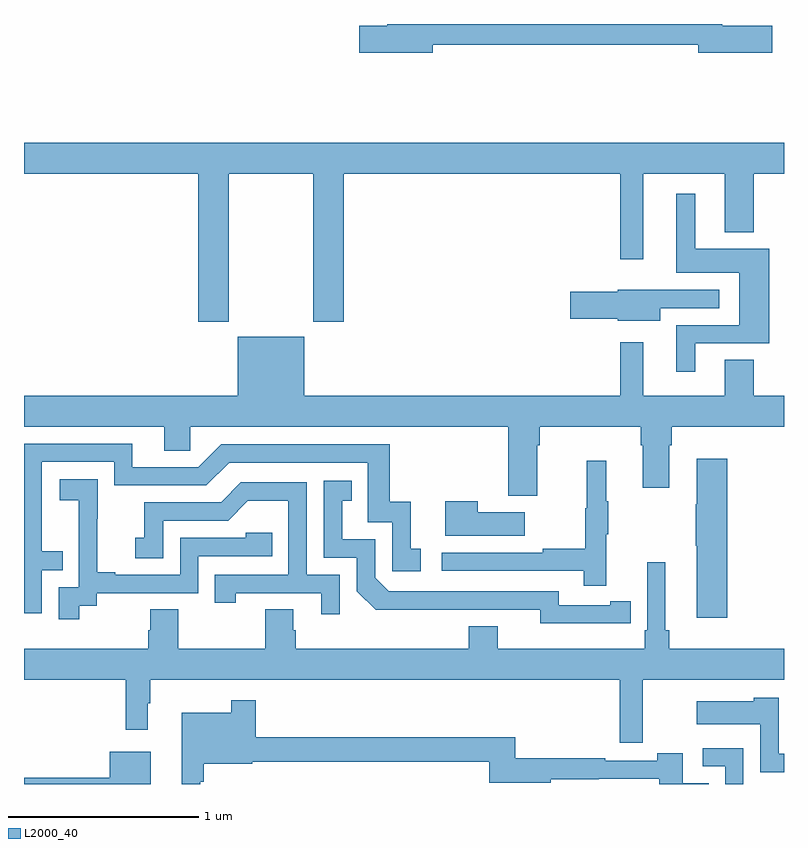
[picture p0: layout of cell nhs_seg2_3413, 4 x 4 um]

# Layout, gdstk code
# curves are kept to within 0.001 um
import gdstk
lib = gdstk.Library(unit=1e-6, precision=1e-09)
def P(c, l, *ps):  # polygons
    for p in ps: c.add(gdstk.Polygon(p, *l))
L2000_40 = (2000, 40)

nhs_seg2_3413 = lib.new_cell('nhs_seg2_3413')
P(nhs_seg2_3413, L2000_40, [(293.152,605.692),(294.548,605.692),(294.548,605.65),(294.937,605.65),(294.937,605.792),(294.676,605.792),(294.676,605.8),(292.913,605.8),(292.913,605.792),(292.764,605.792),(292.764,605.65),(293.152,605.65)],
  [(292.077,605.012),(292.522,605.012),(292.522,604.233),(292.682,604.233),(292.682,605.012),(294.138,605.012),(294.138,604.563),(294.259,604.563),(294.259,605.012),(294.689,605.012),(294.689,604.703),(294.842,604.703),(294.842,605.012),(295,605.012),(295,605.176),(291,605.176),(291,605.012),(291.917,605.012),(291.917,604.233),(292.077,604.233)],
  [(294.532,604.119),(294.923,604.119),(294.923,604.618),(294.532,604.618),(294.532,604.906),(294.434,604.906),(294.434,604.49),(294.764,604.49),(294.764,604.215),(294.434,604.215),(294.434,603.969),(294.532,603.969)],
  [(294.349,604.305),(294.658,604.305),(294.658,604.401),(294.345,604.401),(294.345,604.402),(294.126,604.402),(294.126,604.391),(293.874,604.391),(293.874,604.249),(294.126,604.249),(294.126,604.238),(294.349,604.238)],
  [(293.701,603.584),(293.714,603.584),(293.714,603.68),(294.245,603.68),(294.245,603.584),(294.257,603.584),(294.257,603.36),(294.397,603.36),(294.397,603.584),(294.41,603.584),(294.41,603.68),(295,603.68),(295,603.844),(294.842,603.844),(294.842,604.034),(294.689,604.034),(294.689,603.844),(294.259,603.844),(294.259,604.126),(294.138,604.126),(294.138,603.844),(292.474,603.844),(292.474,604.153),(292.124,604.153),(292.124,603.844),(291,603.844),(291,603.68),(291.737,603.68),(291.737,603.553),(291.876,603.553),(291.876,603.68),(293.549,603.68),(293.549,603.318),(293.701,603.318)],
  [(291.093,602.925),(291.203,602.925),(291.203,603.026),(291.093,603.026),(291.093,603.495),(291.474,603.495),(291.474,603.372),(291.96,603.372),(292.08,603.492),(292.809,603.492),(292.809,603.177),(292.938,603.177),(292.938,602.919),(293.089,602.919),(293.089,603.039),(293.036,603.039),(293.036,603.286),(292.925,603.286),(292.925,603.588),(292.038,603.588),(291.918,603.468),(291.571,603.468),(291.571,603.591),(291,603.591),(291,602.7),(291.093,602.7)],
  [(294.701,603.511),(294.542,603.511),(294.542,603.272),(294.535,603.272),(294.535,603.055),(294.542,603.055),(294.542,602.676),(294.701,602.676)],
  [(294.065,603.115),(294.076,603.115),(294.076,603.289),(294.065,603.289),(294.065,603.502),(293.962,603.502),(293.962,603.252),(293.955,603.252),(293.955,603.038),(293.731,603.038),(293.731,603.018),(293.199,603.018),(293.199,602.922),(293.947,602.922),(293.947,602.844),(294.065,602.844)],
  [(291.292,602.737),(291.384,602.737),(291.384,602.805),(291.918,602.805),(291.918,603),(292.307,603),(292.307,603.123),(292.167,603.123),(292.167,603.096),(291.822,603.096),(291.822,602.901),(291.481,602.901),(291.481,602.914),(291.386,602.914),(291.386,603.197),(291.387,603.197),(291.387,603.403),(291.189,603.403),(291.189,603.293),(291.287,603.293),(291.287,603.065),(291.288,603.065),(291.288,602.835),(291.183,602.835),(291.183,602.667),(291.292,602.667)],
  [(294.086,602.646),(294.194,602.646),(294.194,602.762),(294.086,602.762),(294.086,602.742),(293.814,602.742),(293.814,602.814),(292.92,602.814),(292.848,602.886),(292.848,603.087),(292.675,603.087),(292.675,603.291),(292.724,603.291),(292.724,603.397),(292.578,603.397),(292.578,602.991),(292.752,602.991),(292.752,602.814),(292.85,602.717),(293.718,602.718),(293.718,602.645)],
  [(292.662,602.901),(292.488,602.901),(292.488,603.387),(292.142,603.387),(292.037,603.282),(291.634,603.282),(291.634,603.097),(291.585,603.097),(291.585,602.988),(291.732,602.988),(291.732,603.186),(292.074,603.186),(292.178,603.29),(292.392,603.29),(292.392,602.901),(292.003,602.901),(292.003,602.754),(292.114,602.754),(292.114,602.805),(292.565,602.805),(292.565,602.694),(292.662,602.694)],
  [(293.635,603.229),(293.387,603.229),(293.387,603.289),(293.216,603.289),(293.216,603.107),(293.635,603.107)],
  [(295,602.512),(294.395,602.512),(294.395,602.608),(294.376,602.608),(294.376,602.968),(294.279,602.968),(294.279,602.608),(294.266,602.608),(294.266,602.512),(293.494,602.512),(293.494,602.629),(293.342,602.629),(293.342,602.512),(292.43,602.512),(292.43,602.61),(292.417,602.61),(292.417,602.72),(292.27,602.72),(292.27,602.512),(291.813,602.512),(291.813,602.72),(291.665,602.72),(291.665,602.61),(291.653,602.61),(291.653,602.512),(291,602.512),(291,602.348),(291.535,602.348),(291.535,602.085),(291.652,602.085),(291.652,602.225),(291.664,602.225),(291.664,602.348),(294.136,602.348),(294.136,602.016),(294.257,602.016),(294.257,602.348),(295,602.348)],
  [(295,601.959),(294.972,601.959),(294.972,602.254),(294.84,602.254),(294.84,602.236),(294.54,602.236),(294.54,602.114),(294.876,602.114),(294.876,601.862),(295,601.862)],
  [(291.927,601.811),(291.947,601.811),(291.947,601.907),(292.201,601.907),(292.201,601.918),(293.449,601.918),(293.449,601.807),(293.772,601.807),(293.772,601.825),(294.026,601.825),(294.026,601.827),(294.344,601.827),(294.344,601.8),(294.605,601.8),(294.605,601.804),(294.466,601.804),(294.466,601.962),(294.332,601.962),(294.332,601.923),(294.059,601.923),(294.059,601.936),(293.585,601.936),(293.585,602.047),(292.22,602.047),(292.22,602.242),(292.092,602.242),(292.092,602.176),(291.83,602.176),(291.83,601.8),(291.927,601.8)],
  [(294.786,601.989),(294.573,601.989),(294.573,601.893),(294.69,601.893),(294.69,601.8),(294.786,601.8)],
  [(291.667,601.969),(291.452,601.969),(291.452,601.832),(291,601.832),(291,601.8),(291.667,601.8)])

lib.write_gds('nhs_seg2_3413.gds')
